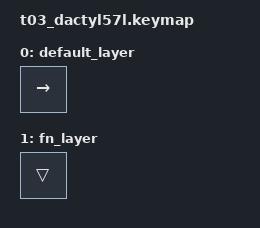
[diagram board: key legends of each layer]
#include <behaviors.dtsi>
#include <dt-bindings/zmk/keys.h>
#include <dt-bindings/zmk/bt.h>
#include <dt-bindings/zmk/outputs.h>

// 定义宏处理 00
/ {
    macros {
        macro_00: macro_00 {
            compatible = "zmk,behavior-macro";
            #binding-cells = <0>;
            bindings = <&kp N0 &kp N0>;
        };
    };

    keymap {
        compatible = "zmk,keymap";

        // 第 0 层：默认层 (Default Layer)
        default_layer {
            bindings = <
            // ------------------------------------- 左手 (7列) ---------------------        ------------------------------------- 右手 (7列) -------------------------------------
            &kp GRAVE  &kp Q      &kp N0     &kp N1     &kp N2      &kp N3    &kp N4         &kp N5    &kp N6    &kp N7    &kp N8    &kp N9    &kp SEMI  &kp SQT
            &kp LSHIFT &kp A      &kp W      &kp E      &kp R       &kp T     &kp TAB        &kp BSLH  &kp Y     &kp U     &kp I     &kp O     &kp P     &kp MINUS
            &kp LALT   &kp Z      &kp S      &kp D      &kp F       &kp G     &mo 1          &mo 1     &kp H     &kp J     &kp K     &kp L     &kp FSLH  &kp EQUAL
            &kp HOME   &kp PG_UP  &kp X      &kp C      &kp V       &kp B     &kp ESC        &kp DEL   &kp N     &kp M     &kp COMMA &kp DOT   &kp UP    &kp DOWN
            &kp END    &kp PG_DN  &none      &none      &kp SPACE   &kp CAPS  &kp LGUI       &kp RSHFT &lt 1 RET   &kp BSPC  &kp LBKT  &kp RBKT  &kp LEFT  &kp RIGHT
            >;
        };

        // 第 1 层：功能/小键盘层 (FN Layer)
        fn_layer {
            bindings = <
            // ------------------------------------- 左手 (7列) ---------------------------     ------------------------------------- 右手 (7列) -------------------
            &trans     &trans     &kp FSLH   &trans     &trans    &trans            &trans      &trans    &trans    &kp N7    &kp N8    &kp N9    &kp MINUS &trans
            &trans     &trans     &trans     &trans     &trans    &trans            &trans      &trans    &trans    &kp N4    &kp N5    &kp N6    &kp STAR  &trans
            &trans     &trans     &trans     &trans     &trans    &studio_unlock    &trans      &trans    &trans    &kp N1    &kp N2    &kp N3    &kp PLUS  &trans
            &trans     &trans     &trans     &trans     &trans    &bt BT_CLR         &trans      &trans    &trans    &kp N0    &macro_00 &kp DOT   &trans    &trans
            &trans     &trans     &trans     &trans     &trans    &trans            &trans      &trans    &trans    &trans    &trans    &trans    &trans    &trans
            >;
        };
    };
};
